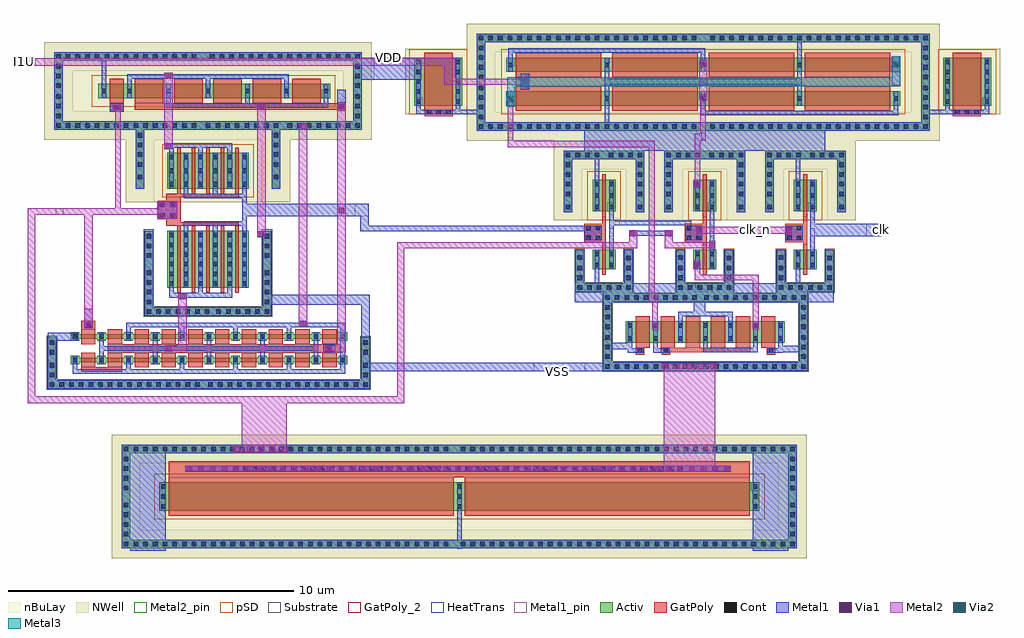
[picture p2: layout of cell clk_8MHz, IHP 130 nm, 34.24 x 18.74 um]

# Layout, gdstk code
from math import pi, radians
import gdstk
lib = gdstk.Library(unit=1e-6, precision=1e-09)
def R(c, l, rs):  # rectangles x0, y0, x1, y1
    for r in rs: c.add(gdstk.rectangle(r[:2], r[2:], *l))
def A(c, l, x, y, w, h, nx, ny, dx, dy):  # array of equal rectangles
    R(c, l, [(x+i*dx, y+j*dy, x+i*dx+w, y+j*dy+h) for i in range(nx) for j in range(ny)])
def P(c, l, *ps):  # polygons
    for p in ps: c.add(gdstk.Polygon(p, *l))
Activ = (1, 0)
GatPoly = (5, 0)
GatPoly_2 = (5, 2)
Cont = (6, 0)
Metal1 = (8, 0)
Metal1_pin = (8, 2)
Metal2 = (10, 0)
Metal2_pin = (10, 2)
pSD = (14, 0)
Via1 = (19, 0)
Via2 = (29, 0)
Metal3 = (30, 0)
NWell = (31, 0)
nBuLay = (32, 0)
Substrate = (40, 0)
HeatTrans = (51, 0)

via_stack_12 = lib.new_cell('via_stack$12')
R(via_stack_12, Metal1, [(-0.145,-0.105,0.145,0.105)])
R(via_stack_12, Metal2, [(-0.145,-0.1,0.145,0.1)])
R(via_stack_12, Via1, [(-0.095,-0.095,0.095,0.095)])
R(via_stack_12, Via2, [(-0.095,-0.095,0.095,0.095)])
R(via_stack_12, Metal3, [(-0.145,-0.1,0.145,0.1)])

pmos_2 = lib.new_cell('pmos$2')
R(pmos_2, Activ, [(0,0,0.3,0.3), (0,0,1.68,1.68), (1.38,0,1.68,0.3)])
R(pmos_2, GatPoly, [(0.34,-0.18,1.34,1.86), (0.34,-0.18,1.34,1.86)])
A(pmos_2, Cont, 0.07, 0.07, 0.16, 0.16, 1, 5, 0, 0.345)
A(pmos_2, Cont, 1.45, 0.07, 0.16, 0.16, 1, 5, 0, 0.345)
R(pmos_2, Metal1, [(0.07,0,0.23,1.68), (0.07,0,0.23,1.68), (1.45,0,1.61,1.68), (1.45,0,1.61,1.68)])
R(pmos_2, pSD, [(-0.18,-0.3,1.86,1.98)])
R(pmos_2, NWell, [(-0.31,-0.31,1.99,1.99)])
R(pmos_2, Substrate, [(1.38,0,1.68,0.3)])
R(pmos_2, HeatTrans, [(0.34,-0.18,1.34,1.86)])
pmos_2.add(gdstk.Label('pmos', (0.84,0.84), layer=63, texttype=0))
pmos_2.add(gdstk.Label('pmos', (0.84,0.84), layer=51, texttype=0))

via_stack_6 = lib.new_cell('via_stack$6')
R(via_stack_6, GatPoly, [(-0.15,-0.49,0.15,0.49)])
A(via_stack_6, Cont, -0.08, -0.42, 0.16, 0.16, 1, 3, 0, 0.34)
R(via_stack_6, Metal1, [(-0.08,-0.47,0.08,0.47)])

via_stack_5 = lib.new_cell('via_stack$5')
R(via_stack_5, GatPoly, [(-0.15,-0.15,0.15,0.15)])
R(via_stack_5, Cont, [(-0.08,-0.08,0.08,0.08)])
R(via_stack_5, Metal1, [(-0.145,-0.105,0.145,0.105)])
R(via_stack_5, Metal2, [(-0.145,-0.1,0.145,0.1)])
R(via_stack_5, Via1, [(-0.095,-0.095,0.095,0.095)])

guard_ring = lib.new_cell('guard_ring')
R(guard_ring, Activ, [(-7.95,-1.4,-7.65,1.4), (7.65,-1.4,7.95,1.4), (-7.95,1.4,7.95,1.7)])
P(guard_ring, Activ, [(-7.95,-1.7),(-7.95,1.4),(-7.65,1.4),(-7.65,-1.4),(7.65,-1.4),(7.65,1.4),(-7.95,1.4),(-7.95,1.7),(7.95,1.7),(7.95,-1.7)])
A(guard_ring, Cont, -7.88, -1.63, 0.16, 0.16, 23, 2, 0.34, 3.1)
A(guard_ring, Cont, 0.24, -1.63, 0.16, 0.16, 23, 2, 0.34, 3.1)
A(guard_ring, Cont, -7.88, -1.29, 0.16, 0.16, 1, 4, 0, 0.34)
A(guard_ring, Cont, 7.72, -1.29, 0.16, 0.16, 1, 4, 0, 0.34)
A(guard_ring, Cont, -7.88, 0.11, 0.16, 0.16, 1, 4, 0, 0.34)
A(guard_ring, Cont, 7.72, 0.11, 0.16, 0.16, 1, 4, 0, 0.34)
R(guard_ring, Metal1, [(-7.95,-1.7,7.95,-1.4), (-7.95,-1.4,-7.65,1.4), (7.65,-1.4,7.95,1.4), (-7.95,1.4,7.95,1.7)])
R(guard_ring, NWell, [(-8.3,-2.05,8.3,2.05)])
R(guard_ring, nBuLay, [(-8.3,-1.05,-7.3,1.05), (7.3,-1.05,8.3,1.05), (-8.3,1.05,8.3,2.05)])
P(guard_ring, nBuLay, [(-8.3,-2.05),(-8.3,1.05),(-7.3,1.05),(-7.3,-1.05),(7.3,-1.05),(7.3,1.05),(-8.3,1.05),(-8.3,2.05),(8.3,2.05),(8.3,-2.05)])
guard_ring.add(gdstk.Label('well', (0,-1.55), layer=63, texttype=0))

pmos_3 = lib.new_cell('pmos$3')
A(pmos_3, Activ, 0, 0, 0.3, 0.3, 5, 1, 3.38, 0)
R(pmos_3, Activ, [(0,0,13.82,0.5)])
A(pmos_3, GatPoly, 0.34, -0.18, 3, 0.86, 4, 1, 3.38, 0)
R(pmos_3, GatPoly, [(0.34,-0.18,3.34,0.68)])
A(pmos_3, Cont, 0.07, 0.17, 0.16, 0.16, 5, 1, 3.38, 0)
A(pmos_3, Metal1, 3.45, 0, 0.16, 0.5, 4, 1, 3.38, 0)
R(pmos_3, Metal1, [(0.07,0,0.23,0.5), (0.07,0,0.23,0.5), (3.45,0,3.61,0.5)])
R(pmos_3, pSD, [(-0.18,-0.3,14,0.8)])
R(pmos_3, NWell, [(-0.31,-0.31,14.13,0.81)])
R(pmos_3, Substrate, [(13.52,0,13.82,0.3)])
A(pmos_3, HeatTrans, 0.34, -0.18, 3, 0.86, 4, 1, 3.38, 0)
pmos_3.add(gdstk.Label('pmos', (1.84,0.25), layer=63, texttype=0))
pmos_3.add(gdstk.Label('pmos', (1.84,0.25), layer=51, texttype=0))
pmos_3.add(gdstk.Label('pmos', (5.22,0.25), layer=51, texttype=0))
pmos_3.add(gdstk.Label('pmos', (8.6,0.25), layer=51, texttype=0))
pmos_3.add(gdstk.Label('pmos', (11.98,0.25), layer=51, texttype=0))

pmos_4 = lib.new_cell('pmos$4')
A(pmos_4, Activ, 0, 0, 0.3, 0.3, 5, 1, 3.38, 0)
R(pmos_4, Activ, [(0,0,13.82,0.5)])
A(pmos_4, GatPoly, 0.34, -0.18, 3, 0.86, 4, 1, 3.38, 0)
R(pmos_4, GatPoly, [(0.34,-0.18,3.34,0.68)])
A(pmos_4, Cont, 0.07, 0.17, 0.16, 0.16, 5, 1, 3.38, 0)
A(pmos_4, Metal1, 3.45, 0, 0.16, 0.5, 4, 1, 3.38, 0)
R(pmos_4, Metal1, [(0.07,0,0.23,0.5), (0.07,0,0.23,0.5), (3.45,0,3.61,0.5)])
R(pmos_4, pSD, [(-0.18,-0.3,14,0.8)])
R(pmos_4, NWell, [(-0.31,-0.31,14.13,0.81)])
R(pmos_4, Substrate, [(13.52,0,13.82,0.3)])
A(pmos_4, HeatTrans, 0.34, -0.18, 3, 0.86, 4, 1, 3.38, 0)
pmos_4.add(gdstk.Label('pmos', (1.84,0.25), layer=63, texttype=0))
pmos_4.add(gdstk.Label('pmos', (1.84,0.25), layer=51, texttype=0))
pmos_4.add(gdstk.Label('pmos', (5.22,0.25), layer=51, texttype=0))
pmos_4.add(gdstk.Label('pmos', (8.6,0.25), layer=51, texttype=0))
pmos_4.add(gdstk.Label('pmos', (11.98,0.25), layer=51, texttype=0))

via_stack_4 = lib.new_cell('via_stack$4')
R(via_stack_4, Metal1, [(-0.145,-0.105,0.145,0.105)])
R(via_stack_4, Metal2, [(-0.145,-0.1,0.145,0.1)])
R(via_stack_4, Via1, [(-0.095,-0.095,0.095,0.095)])

ring_mirror_p = lib.new_cell('ring_mirror_p')
R(ring_mirror_p, GatPoly, [(-7.805,-0.62,5.335,-0.3)])
R(ring_mirror_p, Metal1, [(-4.695,-1.985,-4.535,-1.3), (-1.315,-1.64,5.605,-1.48), (-11.3,-1.61,-8.955,-1.445), (6.455,-1.61,8.8,-1.445), (-11.3,-1.575,-11.14,-1.3), (-9.92,-1.575,-9.76,-1.3), (7.26,-1.575,7.42,-1.3), (8.64,-1.575,8.8,-1.3), (-1.315,-1.48,-1.155,-0.875), (5.445,-1.48,5.605,-0.875), (-8.135,-1.345,-7.85,-0.79), (-4.695,-0.8,-4.535,-0.12), (2.065,-0.8,2.225,-0.12), (-7.63,-0.74,-7.345,-0.185), (-4.695,-0.565,2.225,-0.355), (5.39,-0.125,5.675,0.43), (-8.075,-0.045,-7.915,0.56), (-1.315,-0.045,-1.155,0.56), (2.065,0.38,2.225,0.965), (-8.075,0.56,-1.155,0.72)])
R(ring_mirror_p, Metal1_pin, [(-3.955,0.915,-2.815,1.215)])
R(ring_mirror_p, Metal2, [(-8.09,-2.535,-7.89,-0.95), (-1.34,-2.535,-1.14,-0.93), (-1.38,-1.105,-1.09,0.305), (5.39,-0.585,5.675,0.43), (-10.315,-0.565,-7.345,-0.365)])
R(ring_mirror_p, Metal2_pin, [(-8.075,-2.525,-7.9,-2.18), (-1.305,-2.505,-1.145,-2.16), (-10.315,-0.565,-10.08,-0.365)])
R(ring_mirror_p, pSD, [(-8.325,-0.5,5.855,-0.42)])
R(ring_mirror_p, Metal3, [(-8.115,-1.345,-7.85,-0.305), (-8.115,-0.62,5.675,-0.305), (5.39,-0.62,5.675,0.43)])
ring_mirror_p.add(gdstk.Reference(via_stack_12, (5.53,0.15)))
ring_mirror_p.add(gdstk.Reference(via_stack_12, (-7.995,-1.07)))
ring_mirror_p.add(gdstk.Reference(pmos_2, (7.19,-1.3)))
ring_mirror_p.add(gdstk.Reference(via_stack_6, (8.02,-1.525), rotation=pi/2))
ring_mirror_p.add(gdstk.Reference(via_stack_5, (-7.49,-0.465)))
ring_mirror_p.add(gdstk.Reference(pmos_2, (-9.69,-1.3), rotation=pi, x_reflection=True))
ring_mirror_p.add(gdstk.Reference(via_stack_6, (-10.52,-1.525), rotation=pi/2, x_reflection=True))
ring_mirror_p.add(gdstk.Reference(guard_ring, (-1.235,-0.485)))
ring_mirror_p.add(gdstk.Reference(pmos_3, (5.675,-0.8), rotation=pi))
ring_mirror_p.add(gdstk.Reference(pmos_4, (5.675,0.38), rotation=pi))
ring_mirror_p.add(gdstk.Reference(via_stack_4, (-1.235,0.205)))
ring_mirror_p.add(gdstk.Reference(via_stack_4, (-1.235,-1.005)))
ring_mirror_p.add(gdstk.Label('VDD', (-3.385,1.215), layer=8, texttype=2))
ring_mirror_p.add(gdstk.Label('i1u', (-10.21,-0.48), layer=10, texttype=2))
ring_mirror_p.add(gdstk.Label('DRR', (-8.055,-2.405), layer=10, texttype=2))
ring_mirror_p.add(gdstk.Label('DRM', (-1.265,-2.36), layer=10, texttype=2))

via_stack_1 = lib.new_cell('via_stack$1')
R(via_stack_1, GatPoly, [(-0.32,-0.32,0.32,0.32)])
R(via_stack_1, Cont, [(-0.25,-0.25,-0.09,-0.09), (0.09,-0.25,0.25,-0.09), (-0.25,0.09,-0.09,0.25), (0.09,0.09,0.25,0.25)])
R(via_stack_1, Metal1, [(-0.3,-0.25,0.3,0.25)])

ring_inv = lib.new_cell('ring_inv')
R(ring_inv, Activ, [(-0.45,-2.005,-0.15,-1.705), (-0.45,-2.005,0.36,-1.305), (0.06,-2.005,0.36,-1.705), (-1.46,0,-1.16,1.86), (1.07,0,1.37,1.86), (-0.45,0.03,-0.15,0.33), (-0.45,0.03,0.36,1.15), (0.06,0.03,0.36,0.33), (-1.46,1.86,1.37,2.16)])
P(ring_inv, Activ, [(-1.05,-2.785),(-1.05,-1.305),(-0.75,-1.305),(-0.75,-2.485),(0.66,-2.485),(0.66,-1.305),(0.96,-1.305),(0.96,-2.785)])
R(ring_inv, GatPoly, [(-0.11,-2.185,0.02,-1.125), (-0.11,-1.125,0.02,-0.15), (-0.11,-0.15,0.02,1.33), (-0.11,-0.15,0.02,1.33)])
R(ring_inv, GatPoly_2, [(-0.11,-2.185,0.02,-1.125)])
A(ring_inv, Cont, -0.98, -2.715, 0.16, 0.16, 3, 1, 0.34, 0)
A(ring_inv, Cont, 0.05, -2.715, 0.16, 0.16, 3, 1, 0.34, 0)
A(ring_inv, Cont, -0.38, 0.1, 0.16, 0.16, 1, 3, 0, 0.41)
A(ring_inv, Cont, 0.13, 0.1, 0.16, 0.16, 1, 3, 0, 0.41)
A(ring_inv, Cont, -1.39, 0.57, 0.16, 0.16, 1, 4, 0, 0.34)
A(ring_inv, Cont, 1.14, 0.57, 0.16, 0.16, 1, 4, 0, 0.34)
A(ring_inv, Cont, -1.39, 1.93, 0.16, 0.16, 4, 1, 0.34, 0)
A(ring_inv, Cont, 0.12, 1.93, 0.16, 0.16, 4, 1, 0.34, 0)
R(ring_inv, Cont, [(-0.98,-2.375,-0.82,-2.215), (0.73,-2.375,0.89,-2.215), (-0.98,-2.035,-0.82,-1.875), (0.73,-2.035,0.89,-1.875), (-0.38,-1.935,-0.22,-1.775), (0.13,-1.935,0.29,-1.775), (0.73,-1.675,0.89,-1.515), (-0.98,-1.67,-0.82,-1.51), (-0.38,-1.535,-0.22,-1.375), (0.13,-1.535,0.29,-1.375), (-1.39,0.11,-1.23,0.27), (1.14,0.11,1.3,0.27)])
R(ring_inv, Metal1, [(-1.05,-2.785,0.96,-2.485), (-1.05,-2.485,-0.75,-1.305), (0.66,-2.485,0.96,-1.305), (-0.38,-2.005,-0.22,-1.305), (0.13,-2.005,0.29,-1.305), (0.13,-1.305,0.29,0.03), (-1.46,0,-1.16,1.86), (1.07,0,1.37,1.86), (-0.38,0.03,-0.22,1.15), (-0.38,0.03,-0.22,1.15), (0.13,0.03,0.29,1.15), (0.13,0.03,0.29,1.15), (-1.46,1.86,1.37,2.16)])
R(ring_inv, Metal1_pin, [(-0.38,-2.785,0.23,-2.485), (-0.38,-2.005,-0.22,-1.305), (0.13,-2.005,0.29,-1.305), (0.13,-0.84,0.29,-0.565), (-0.73,-0.815,-0.52,-0.625), (-0.505,1.86,0.29,2.16)])
R(ring_inv, pSD, [(-0.63,-0.27,0.54,1.45)])
P(ring_inv, pSD, [(-1.08,-2.815),(-1.08,-1.275),(-0.72,-1.275),(-0.72,-2.455),(0.63,-2.455),(0.63,-1.275),(0.99,-1.275),(0.99,-2.815)])
R(ring_inv, NWell, [(-1.81,-0.28,1.72,2.51), (-0.76,-0.28,0.67,1.46)])
R(ring_inv, nBuLay, [(-1.81,-0.28,-0.81,1.51), (0.72,-0.28,1.72,1.51), (-1.81,1.51,1.72,2.51)])
R(ring_inv, Substrate, [(-1.08,-2.815,0.99,-2.455), (-1.08,-2.455,-0.72,-1.305), (0.63,-2.455,0.99,-1.305), (0.06,0.03,0.36,0.33)])
R(ring_inv, HeatTrans, [(-0.11,-2.185,0.02,-1.125), (-0.11,-0.15,0.02,1.33)])
ring_inv.add(gdstk.Reference(via_stack_1, (-0.43,-0.725)))
ring_inv.add(gdstk.Label('pmos', (-0.045,0.59), layer=63, texttype=0))
ring_inv.add(gdstk.Label('nmos', (-0.045,-1.655), layer=63, texttype=0))
ring_inv.add(gdstk.Label('sub!', (-0.045,-2.635), layer=63, texttype=0))
ring_inv.add(gdstk.Label('pmos', (-0.045,0.59), layer=51, texttype=0))
ring_inv.add(gdstk.Label('nmos', (-0.045,-1.655), layer=51, texttype=0))
ring_inv.add(gdstk.Label('VDD', (-0.108,2.16), layer=8, texttype=2))
ring_inv.add(gdstk.Label('VSS', (-0.075,-2.785), layer=8, texttype=2))
ring_inv.add(gdstk.Label('Y', (0.29,-0.703), layer=8, texttype=2))
ring_inv.add(gdstk.Label('A', (-0.73,-0.705), layer=8, texttype=2))

nmos_5 = lib.new_cell('nmos$5')
A(nmos_5, Activ, 0, 0, 0.3, 0.3, 7, 1, 0.88, 0)
R(nmos_5, Activ, [(-0.8,-0.68,-0.5,1.43), (6.08,-0.68,6.38,1.43), (0,0,5.58,0.75), (-0.8,1.43,6.38,1.73)])
P(nmos_5, Activ, [(-0.8,-0.98),(-0.8,1.43),(-0.5,1.43),(-0.5,-0.68),(6.08,-0.68),(6.08,1.43),(-0.8,1.43),(-0.8,1.73),(6.38,1.73),(6.38,-0.98)])
A(nmos_5, GatPoly, 0.34, -0.18, 0.5, 1.11, 6, 1, 0.88, 0)
R(nmos_5, GatPoly_2, [(0.34,-0.18,0.84,0.93)])
A(nmos_5, Cont, -0.73, -0.91, 0.16, 0.16, 10, 2, 0.34, 2.41)
A(nmos_5, Cont, 2.75, -0.91, 0.16, 0.16, 11, 2, 0.34, 2.41)
A(nmos_5, Cont, -0.73, -0.57, 0.16, 0.16, 1, 3, 0, 0.34)
A(nmos_5, Cont, 6.15, -0.57, 0.16, 0.16, 1, 3, 0, 0.34)
A(nmos_5, Cont, 0.07, 0.07, 0.16, 0.16, 7, 2, 0.88, 0.45)
A(nmos_5, Cont, -0.73, 0.48, 0.16, 0.16, 1, 3, 0, 0.34)
A(nmos_5, Cont, 6.15, 0.48, 0.16, 0.16, 1, 3, 0, 0.34)
A(nmos_5, Metal1, 0.07, 0, 0.16, 0.75, 7, 1, 0.88, 0)
R(nmos_5, Metal1, [(-0.8,-0.98,6.38,-0.68), (-0.8,-0.68,-0.5,1.43), (6.08,-0.68,6.38,1.43), (-0.8,1.43,6.38,1.73)])
R(nmos_5, Metal1_pin, [(0.07,0,0.23,0.75), (0.95,0,1.11,0.75)])
R(nmos_5, pSD, [(-0.83,-0.65,-0.47,1.4), (6.05,-0.65,6.41,1.4), (-0.83,1.4,6.41,1.76)])
P(nmos_5, pSD, [(-0.83,-1.01),(-0.83,1.4),(-0.47,1.4),(-0.47,-0.65),(6.05,-0.65),(6.05,1.4),(-0.83,1.4),(-0.83,1.76),(6.41,1.76),(6.41,-1.01)])
R(nmos_5, Substrate, [(-0.83,-0.65,-0.47,1.4), (6.05,-0.65,6.41,1.4), (-0.83,1.4,6.41,1.76)])
P(nmos_5, Substrate, [(-0.83,-1.01),(-0.83,1.4),(-0.47,1.4),(-0.47,-0.65),(6.05,-0.65),(6.05,1.4),(-0.83,1.4),(-0.83,1.76),(6.41,1.76),(6.41,-1.01)])
A(nmos_5, HeatTrans, 0.34, -0.18, 0.5, 1.11, 6, 1, 0.88, 0)
nmos_5.add(gdstk.Label('nmos', (0.59,0.375), layer=63, texttype=0))
nmos_5.add(gdstk.Label('sub!', (2.79,-0.83), layer=63, texttype=0))
nmos_5.add(gdstk.Label('nmos', (0.59,0.375), layer=51, texttype=0))
nmos_5.add(gdstk.Label('nmos', (1.47,0.375), layer=51, texttype=0))
nmos_5.add(gdstk.Label('nmos', (2.35,0.375), layer=51, texttype=0))
nmos_5.add(gdstk.Label('nmos', (3.23,0.375), layer=51, texttype=0))
nmos_5.add(gdstk.Label('nmos', (4.11,0.375), layer=51, texttype=0))
nmos_5.add(gdstk.Label('nmos', (4.99,0.375), layer=51, texttype=0))

via_stack_9 = lib.new_cell('via_stack$9')
R(via_stack_9, GatPoly, [(-0.15,-0.15,0.15,0.15)])
R(via_stack_9, Cont, [(-0.08,-0.08,0.08,0.08)])
R(via_stack_9, Metal1, [(-0.13,-0.08,0.13,0.08)])

ring_mirror_n2 = lib.new_cell('ring_mirror_n2')
R(ring_mirror_n2, GatPoly, [(-1.565,-4.565,1.575,-4.405)])
R(ring_mirror_n2, Metal1, [(2.205,-4.585,2.725,-4.425), (2.565,-4.585,2.725,-4.085), (-2.715,-4.575,-2.195,-4.415), (-2.715,-4.575,-2.555,-4.075), (-1.835,-4.575,-1.675,-4.225), (-1.835,-4.575,-1.505,-4.415), (-0.075,-4.565,1.845,-4.405), (-0.075,-4.565,0.085,-4.225), (1.685,-4.565,1.845,-4.225), (2.565,-4.56,3.595,-4.335), (-3.515,-4.455,-2.555,-4.225), (-0.955,-3.475,-0.795,-3.135), (0.805,-3.475,0.965,-3.135), (-0.955,-3.295,0.965,-3.135), (-0.4,-3.135,0.005,-2.495)])
R(ring_mirror_n2, Metal2, [(1.67,-3.485,1.87,-2.465), (-1.86,-3.475,-1.66,-2.465)])
ring_mirror_n2.add(gdstk.Reference(nmos_5, (-2.785,-4.225)))
ring_mirror_n2.add(gdstk.Reference(via_stack_9, (-1.375,-4.495)))
ring_mirror_n2.add(gdstk.Reference(via_stack_9, (-2.295,-4.495)))
ring_mirror_n2.add(gdstk.Reference(via_stack_9, (2.305,-4.505), rotation=pi, x_reflection=True))
ring_mirror_n2.add(gdstk.Reference(via_stack_4, (-1.76,-3.62), rotation=pi/2))
ring_mirror_n2.add(gdstk.Reference(via_stack_4, (1.77,-3.63), rotation=pi/2))

ring_mrr_inv = lib.new_cell('ring_mrr_inv')
R(ring_mrr_inv, Activ, [(-0.875,-2.545,1.135,-2.48), (-3.435,-2.54,-2.395,-2.48), (2.655,-2.54,3.745,-2.48)])
R(ring_mrr_inv, Metal1, [(-4.435,-2.845,4.665,-2.185), (-4.09,2.46,4.35,3.465)])
R(ring_mrr_inv, Metal2, [(1.815,-2.985,2.02,-2.085), (-1.835,-2.84,-1.62,2.815), (-0.225,-2.085,-0.025,-1.69), (-0.025,-2.085,2.02,-1.88), (-0.225,1.16,-0.025,3.07), (-6.78,2.595,-1.62,2.815)])
ring_mrr_inv.add(gdstk.Reference(ring_mirror_p, (1.31,5.35)))
ring_mrr_inv.add(gdstk.Reference(ring_inv, (0.175,0.305)))
ring_mrr_inv.add(gdstk.Reference(ring_inv, (-3.355,0.305)))
ring_mrr_inv.add(gdstk.Reference(ring_inv, (3.705,0.305)))
ring_mrr_inv.add(gdstk.Reference(via_stack_4, (-0.125,1.305), rotation=pi/2))
ring_mrr_inv.add(gdstk.Reference(via_stack_4, (-0.125,-1.545), rotation=pi/2))
ring_mrr_inv.add(gdstk.Reference(ring_mirror_n2, (0.15,-0.045)))

via_stack = lib.new_cell('via_stack')
R(via_stack, GatPoly, [(-0.32,-0.32,0.32,0.32)])
R(via_stack, Cont, [(-0.25,-0.25,-0.09,-0.09), (0.09,-0.25,0.25,-0.09), (-0.25,0.09,-0.09,0.25), (0.09,0.09,0.25,0.25)])
R(via_stack, Metal1, [(-0.35,-0.31,0.35,0.31)])
R(via_stack, Metal2, [(-0.35,-0.305,0.35,0.305)])
R(via_stack, Via1, [(-0.3,-0.3,-0.11,-0.11), (0.11,-0.3,0.3,-0.11), (-0.3,0.11,-0.11,0.3), (0.11,0.11,0.3,0.3)])

nmos_3 = lib.new_cell('nmos$3')
A(nmos_3, Activ, 0, 0, 0.3, 0.3, 11, 1, 0.94, 0)
R(nmos_3, Activ, [(0,0.07,9.7,0.225)])
A(nmos_3, GatPoly, 0.37, -0.11, 0.5, 0.515, 10, 1, 0.94, 0)
R(nmos_3, GatPoly_2, [(0.37,-0.11,0.87,0.405)])
A(nmos_3, Metal1, 0.07, 0.015, 0.16, 0.26, 11, 1, 0.94, 0)
R(nmos_3, Metal1_pin, [(0.07,0.015,0.23,0.275), (1.01,0.015,1.17,0.275)])
A(nmos_3, HeatTrans, 0.37, -0.11, 0.5, 0.515, 10, 1, 0.94, 0)
nmos_3.add(gdstk.Label('nmos', (0.62,0.148), layer=63, texttype=0))
nmos_3.add(gdstk.Label('nmos', (0.62,0.148), layer=51, texttype=0))
nmos_3.add(gdstk.Label('nmos', (1.56,0.148), layer=51, texttype=0))
nmos_3.add(gdstk.Label('nmos', (2.5,0.148), layer=51, texttype=0))
nmos_3.add(gdstk.Label('nmos', (3.44,0.148), layer=51, texttype=0))
nmos_3.add(gdstk.Label('nmos', (4.38,0.148), layer=51, texttype=0))
nmos_3.add(gdstk.Label('nmos', (5.32,0.148), layer=51, texttype=0))
nmos_3.add(gdstk.Label('nmos', (6.26,0.148), layer=51, texttype=0))
nmos_3.add(gdstk.Label('nmos', (7.2,0.148), layer=51, texttype=0))
nmos_3.add(gdstk.Label('nmos', (8.14,0.148), layer=51, texttype=0))
nmos_3.add(gdstk.Label('nmos', (9.08,0.148), layer=51, texttype=0))

ring_schmitt = lib.new_cell('ring_schmitt')
A(ring_schmitt, Activ, -3.855, -3.525, 0.3, 0.3, 11, 1, 0.94, 0)
A(ring_schmitt, Activ, -0.46, -0.85, 0.3, 0.3, 6, 2, 0.51, 3.485)
A(ring_schmitt, Activ, -1.945, 5.805, 0.3, 0.3, 6, 1, 1.38, 0)
R(ring_schmitt, Activ, [(-4.655,-4.395,6.645,-4.095), (-4.655,-4.095,-4.355,-2.58), (6.345,-4.095,6.645,-2.58), (-3.855,-3.455,5.845,-3.3), (-1.26,-1.83,3.19,-1.53), (-1.26,-1.53,-0.96,1.15), (2.89,-1.53,3.19,1.15), (-0.46,-0.85,2.39,1.15), (-1.57,2.635,-1.27,4.695), (-0.46,2.635,2.39,3.885), (3.2,2.635,3.5,4.695), (-1.57,4.695,3.5,4.995), (-4.435,4.995,-4.135,7.115), (6.065,4.995,6.365,7.115), (-2.885,5.805,5.255,6.305), (-2.83,5.805,-2.53,6.105), (-4.435,7.115,6.365,7.415)])
P(ring_schmitt, Activ, [(-4.435,4.695),(-4.435,7.115),(-4.135,7.115),(-4.135,4.995),(6.065,4.995),(6.065,7.115),(-4.435,7.115),(-4.435,7.415),(6.365,7.415),(6.365,4.695)])
A(ring_schmitt, GatPoly, -3.485, -3.635, 0.5, 0.515, 10, 1, 0.94, 0)
A(ring_schmitt, GatPoly, -0.12, -1.03, 0.13, 2.36, 5, 1, 0.51, 0)
A(ring_schmitt, GatPoly, -0.12, 2.455, 0.13, 1.61, 5, 1, 0.51, 0)
A(ring_schmitt, GatPoly, -1.605, 5.625, 1, 0.86, 5, 1, 1.38, 0)
R(ring_schmitt, GatPoly, [(-3.485,-3.785,-2.045,-3.635), (-2.545,-3.12,5.615,-2.82), (-3.485,-2.305,-2.985,-2.005), (-0.505,1.33,2.05,1.46), (-0.505,1.33,0.01,2.455), (-0.505,2.325,2.05,2.455), (1.92,2.455,2.05,4.065), (-2.485,5.325,-1.985,5.625), (-1.605,5.4,5.8,5.625), (-2.485,5.625,-1.985,6.485), (-2.485,5.625,-1.985,6.485)])
R(ring_schmitt, GatPoly_2, [(-3.485,-3.635,-2.985,-3.12), (1.92,-1.03,2.05,1.33)])
A(ring_schmitt, Cont, -4.585, -4.325, 0.16, 0.16, 16, 1, 0.34, 0)
A(ring_schmitt, Cont, 0.975, -4.325, 0.16, 0.16, 17, 1, 0.34, 0)
A(ring_schmitt, Cont, -3.785, -3.455, 0.16, 0.16, 11, 2, 0.94, 0.815)
A(ring_schmitt, Cont, -1.19, -1.76, 0.16, 0.16, 7, 1, 0.34, 0)
A(ring_schmitt, Cont, 1.26, -1.76, 0.16, 0.16, 6, 1, 0.34, 0)
A(ring_schmitt, Cont, -1.19, -1.42, 0.16, 0.16, 1, 4, 0, 0.34)
A(ring_schmitt, Cont, 2.96, -1.42, 0.16, 0.16, 1, 4, 0, 0.34)
A(ring_schmitt, Cont, -0.39, -0.78, 0.16, 0.16, 6, 6, 0.51, 0.34)
A(ring_schmitt, Cont, -1.19, 0.2, 0.16, 0.16, 1, 3, 0, 0.34)
A(ring_schmitt, Cont, 2.96, 0.2, 0.16, 0.16, 1, 3, 0, 0.34)
A(ring_schmitt, Cont, -0.39, 2.705, 0.16, 0.16, 6, 3, 0.51, 0.475)
A(ring_schmitt, Cont, -1.5, 3.405, 0.16, 0.16, 1, 4, 0, 0.34)
A(ring_schmitt, Cont, 3.27, 3.405, 0.16, 0.16, 1, 4, 0, 0.34)
A(ring_schmitt, Cont, -4.365, 4.765, 0.16, 0.16, 15, 2, 0.34, 2.42)
A(ring_schmitt, Cont, 1.23, 4.765, 0.16, 0.16, 7, 1, 0.34, 0)
A(ring_schmitt, Cont, 3.755, 4.765, 0.16, 0.16, 8, 1, 0.34, 0)
A(ring_schmitt, Cont, -4.365, 5.105, 0.16, 0.16, 1, 3, 0, 0.34)
A(ring_schmitt, Cont, 6.135, 5.105, 0.16, 0.16, 1, 3, 0, 0.34)
A(ring_schmitt, Cont, -1.875, 5.975, 0.16, 0.16, 6, 1, 1.38, 0)
A(ring_schmitt, Cont, -4.365, 6.165, 0.16, 0.16, 1, 3, 0, 0.34)
A(ring_schmitt, Cont, 6.135, 6.165, 0.16, 0.16, 1, 3, 0, 0.34)
A(ring_schmitt, Cont, 1.035, 7.185, 0.16, 0.16, 16, 1, 0.34, 0)
R(ring_schmitt, Cont, [(-4.585,-3.985,-4.425,-3.825), (6.415,-3.985,6.575,-3.825), (-4.585,-3.645,-4.425,-3.485), (6.415,-3.645,6.575,-3.485), (-4.585,-3.19,-4.425,-3.03), (6.415,-3.19,6.575,-3.03), (-4.585,-2.85,-4.425,-2.69), (6.415,-2.85,6.575,-2.69), (-1.5,2.955,-1.34,3.115), (3.27,2.955,3.43,3.115), (0.88,4.765,1.04,4.925), (-2.76,5.975,-2.6,6.135)])
A(ring_schmitt, Metal1, -3.785, -3.795, 0.16, 0.285, 6, 1, 1.88, 0)
A(ring_schmitt, Metal1, -2.845, -3.515, 0.16, 1.105, 5, 1, 1.88, 0)
A(ring_schmitt, Metal1, -3.785, -3.51, 0.16, 0.27, 5, 1, 1.88, 0)
A(ring_schmitt, Metal1, -2.845, -3.51, 0.16, 0.26, 5, 1, 1.88, 0)
A(ring_schmitt, Metal1, -0.025, -2.71, 0.16, 0.555, 3, 1, 1.88, 0)
A(ring_schmitt, Metal1, -0.39, -0.85, 0.16, 2, 6, 1, 0.51, 0)
A(ring_schmitt, Metal1, -0.39, 2.635, 0.16, 1.25, 5, 1, 0.51, 0)
A(ring_schmitt, Metal1, -0.495, 5.465, 0.16, 0.34, 3, 1, 2.76, 0)
A(ring_schmitt, Metal1, -1.875, 5.805, 0.16, 0.5, 6, 1, 1.38, 0)
A(ring_schmitt, Metal1, -1.875, 6.305, 0.16, 0.34, 3, 1, 2.76, 0)
R(ring_schmitt, Metal1, [(-4.655,-4.395,6.645,-4.095), (-4.655,-4.095,-4.355,-2.58), (6.345,-4.095,6.645,-2.58), (-3.785,-3.87,5.775,-3.71), (-1.905,-3.87,-1.745,-3.51), (5.615,-3.51,5.775,-3.25), (5.615,-3.29,5.775,-2.41), (5.015,-3.11,5.43,-2.82), (-2.845,-3.05,4.835,-2.89), (-4.655,-2.71,-3.59,-2.42), (-1.905,-2.71,-1.745,-2.08), (6.345,-2.58,6.645,-1.1), (5.615,-2.44,5.775,-2.155), (-3.375,-2.255,-3.085,-1.59), (-1.905,-2.23,5.775,-2.07), (-1.26,-1.83,3.19,-1.53), (-1.26,-1.53,-0.96,1.15), (2.89,-1.53,3.19,1.15), (2.89,-1.445,6.645,-1.1), (-0.39,-1.19,1.81,-1.03), (-0.39,-1.19,-0.23,-0.85), (1.65,-1.19,1.81,-0.85), (0.63,-1.03,0.79,-0.85), (0.12,1.15,0.28,1.49), (1.14,1.15,1.3,1.33), (2.16,1.15,2.32,1.49), (0.12,1.33,2.32,1.49), (2.16,1.49,2.32,2.295), (2.16,1.665,6.605,2.095), (0.12,2.295,2.32,2.455), (0.12,2.295,0.28,2.635), (2.16,2.295,2.32,2.635), (1.14,2.455,1.3,2.635), (-1.57,2.635,-1.27,4.695), (1.65,2.635,1.81,3.885), (2.16,2.635,2.32,3.885), (2.16,2.635,2.32,3.885), (3.2,2.635,3.5,4.695), (-0.39,3.885,-0.23,4.225), (0.63,3.885,0.79,4.065), (1.65,3.885,1.81,4.225), (-0.39,4.065,1.81,4.225), (-4.435,4.695,6.365,4.995), (-1.57,4.695,3.5,4.995), (-4.435,4.995,-4.135,7.115), (6.065,4.995,6.365,7.115), (-2.485,5.325,-1.985,5.625), (5.505,5.415,5.795,6.11), (-0.495,5.465,5.185,5.625), (-2.76,5.805,-2.6,6.305), (-2.76,5.805,-2.6,6.305), (-1.875,5.805,-1.715,6.305), (-2.76,6.305,-2.6,7.115), (-1.875,6.485,3.805,6.645), (-4.435,7.115,6.365,7.415)])
R(ring_schmitt, Metal1_pin, [(-0.31,-4.395,0.48,-4.095), (-3.785,-3.51,-3.625,-3.24), (-2.845,-3.51,-2.685,-3.25), (1.65,-0.85,1.81,1.15), (2.16,-0.85,2.32,1.15), (6.12,1.665,6.605,2.095), (-0.16,7.115,1.845,7.415)])
R(ring_schmitt, Metal2, [(5.505,-3.11,5.795,2.075), (5.075,-3.07,5.795,-2.865), (-0.555,-3.065,0.215,-2.865), (-0.075,-3.065,0.215,-1.045), (-3.375,-2.255,-3.085,1.94), (4.155,-2.215,4.445,4.91), (2.7,0.935,2.99,5.615), (5.505,1.665,5.795,5.615), (-4.38,1.72,-0.59,1.94), (-2.295,1.72,-2.09,5.575), (-0.565,4.025,-0.275,6.7)])
R(ring_schmitt, Metal2_pin, [(-4.38,1.72,-4.105,1.94)])
R(ring_schmitt, pSD, [(-4.685,-4.425,6.675,-4.065), (-4.685,-4.065,-4.325,-2.535), (6.315,-4.065,6.675,-2.545), (-0.64,2.335,2.57,4.185), (-3.115,5.505,5.435,6.605)])
P(ring_schmitt, pSD, [(-1.29,-1.86),(-1.29,1.205),(-0.93,1.205),(-0.93,-1.5),(2.86,-1.5),(2.86,1.205),(3.22,1.205),(3.22,-1.86)])
R(ring_schmitt, NWell, [(-1.92,2.16,3.85,5.345), (-0.77,2.325,2.7,4.195), (-4.785,4.345,6.715,7.765), (-3.635,5.495,5.565,6.615)])
R(ring_schmitt, nBuLay, [(-1.92,2.16,-0.92,4.345), (2.85,2.16,3.85,4.345), (-1.92,4.345,3.85,5.345), (-4.785,5.345,-3.785,6.765), (5.715,5.345,6.715,6.765), (-4.785,6.765,6.715,7.765)])
P(ring_schmitt, nBuLay, [(-4.785,4.345),(-4.785,6.765),(-3.785,6.765),(-3.785,5.345),(5.715,5.345),(5.715,6.765),(-4.785,6.765),(-4.785,7.765),(6.715,7.765),(6.715,4.345)])
R(ring_schmitt, Substrate, [(-4.685,-4.425,6.675,-4.065), (-4.685,-4.065,-4.325,-2.535), (6.315,-4.065,6.675,-2.545), (-0.46,2.635,-0.16,2.935), (4.955,5.805,5.255,6.105)])
P(ring_schmitt, Substrate, [(-1.29,-1.86),(-1.29,1.205),(-0.93,1.205),(-0.93,-1.5),(2.86,-1.5),(2.86,1.205),(3.22,1.205),(3.22,-1.86)])
A(ring_schmitt, HeatTrans, -3.485, -3.635, 0.5, 0.515, 10, 1, 0.94, 0)
A(ring_schmitt, HeatTrans, -0.12, -1.03, 0.13, 2.36, 5, 1, 0.51, 0)
A(ring_schmitt, HeatTrans, -0.12, 2.455, 0.13, 1.61, 5, 1, 0.51, 0)
A(ring_schmitt, HeatTrans, -1.605, 5.625, 1, 0.86, 5, 1, 1.38, 0)
R(ring_schmitt, HeatTrans, [(-2.485,5.625,-1.985,6.485)])
ring_schmitt.add(gdstk.Reference(via_stack_5, (-2.235,5.475), rotation=pi, x_reflection=True))
ring_schmitt.add(gdstk.Reference(via_stack, (-0.465,1.88), rotation=pi, x_reflection=True))
ring_schmitt.add(gdstk.Reference(via_stack_4, (-0.42,6.6)))
ring_schmitt.add(gdstk.Reference(via_stack_4, (-0.42,4.125)))
ring_schmitt.add(gdstk.Reference(via_stack_5, (5.65,5.515)))
ring_schmitt.add(gdstk.Reference(via_stack_4, (5.65,1.865)))
ring_schmitt.add(gdstk.Reference(nmos_3, (-3.855,-2.71)))
ring_schmitt.add(gdstk.Reference(via_stack_4, (-0.41,-2.965)))
ring_schmitt.add(gdstk.Reference(via_stack_4, (0.07,-1.145)))
ring_schmitt.add(gdstk.Reference(via_stack_5, (5.22,-2.965)))
ring_schmitt.add(gdstk.Reference(via_stack_5, (-3.23,-2.155), rotation=pi, x_reflection=True))
ring_schmitt.add(gdstk.Reference(via_stack_4, (2.845,1.035)))
ring_schmitt.add(gdstk.Reference(via_stack_4, (2.845,5.515)))
ring_schmitt.add(gdstk.Reference(via_stack_4, (4.3,-2.115)))
ring_schmitt.add(gdstk.Reference(via_stack_4, (4.3,4.81)))
ring_schmitt.add(gdstk.Label('pmos', (1.985,3.26), layer=63, texttype=0))
ring_schmitt.add(gdstk.Label('sub!', (0.965,-1.68), layer=63, texttype=0))
ring_schmitt.add(gdstk.Label('nmos', (1.985,0.15), layer=63, texttype=0))
ring_schmitt.add(gdstk.Label('sub!', (0.995,-4.245), layer=63, texttype=0))
ring_schmitt.add(gdstk.Label('nmos', (-3.235,-3.38), layer=63, texttype=0))
ring_schmitt.add(gdstk.Label('pmos', (1.985,3.26), layer=51, texttype=0))
ring_schmitt.add(gdstk.Label('pmos', (1.475,3.26), layer=51, texttype=0))
ring_schmitt.add(gdstk.Label('pmos', (0.965,3.26), layer=51, texttype=0))
ring_schmitt.add(gdstk.Label('pmos', (0.455,3.26), layer=51, texttype=0))
ring_schmitt.add(gdstk.Label('pmos', (-0.055,3.26), layer=51, texttype=0))
ring_schmitt.add(gdstk.Label('nmos', (-0.055,0.15), layer=51, texttype=0))
ring_schmitt.add(gdstk.Label('nmos', (0.455,0.15), layer=51, texttype=0))
ring_schmitt.add(gdstk.Label('nmos', (0.965,0.15), layer=51, texttype=0))
ring_schmitt.add(gdstk.Label('nmos', (1.475,0.15), layer=51, texttype=0))
ring_schmitt.add(gdstk.Label('nmos', (1.985,0.15), layer=51, texttype=0))
ring_schmitt.add(gdstk.Label('pmos', (-2.485,6.055), layer=51, texttype=0))
ring_schmitt.add(gdstk.Label('pmos', (-1.105,6.055), layer=51, texttype=0))
ring_schmitt.add(gdstk.Label('pmos', (0.275,6.055), layer=51, texttype=0))
ring_schmitt.add(gdstk.Label('pmos', (1.655,6.055), layer=51, texttype=0))
ring_schmitt.add(gdstk.Label('pmos', (3.035,6.055), layer=51, texttype=0))
ring_schmitt.add(gdstk.Label('pmos', (4.415,6.055), layer=51, texttype=0))
ring_schmitt.add(gdstk.Label('nmos', (5.225,-3.375), layer=51, texttype=0))
ring_schmitt.add(gdstk.Label('nmos', (4.285,-3.375), layer=51, texttype=0))
ring_schmitt.add(gdstk.Label('nmos', (3.345,-3.375), layer=51, texttype=0))
ring_schmitt.add(gdstk.Label('nmos', (2.405,-3.375), layer=51, texttype=0))
ring_schmitt.add(gdstk.Label('nmos', (1.465,-3.375), layer=51, texttype=0))
ring_schmitt.add(gdstk.Label('nmos', (0.525,-3.375), layer=51, texttype=0))
ring_schmitt.add(gdstk.Label('nmos', (-0.415,-3.375), layer=51, texttype=0))
ring_schmitt.add(gdstk.Label('nmos', (-1.355,-3.375), layer=51, texttype=0))
ring_schmitt.add(gdstk.Label('nmos', (-2.295,-3.375), layer=51, texttype=0))
ring_schmitt.add(gdstk.Label('nmos', (-3.235,-3.375), layer=51, texttype=0))
ring_schmitt.add(gdstk.Label('Y', (6.605,1.88), layer=8, texttype=2))
ring_schmitt.add(gdstk.Label('VDD', (0.74,7.415), layer=8, texttype=2))
ring_schmitt.add(gdstk.Label('VSS', (0.035,-4.395), layer=8, texttype=2))
ring_schmitt.add(gdstk.Label('A', (-4.38,1.83), layer=10, texttype=2))

via_stack_11 = lib.new_cell('via_stack$11')
R(via_stack_11, GatPoly, [(-7.97,-0.15,7.97,0.15)])
A(via_stack_11, Cont, -7.9, -0.08, 0.16, 0.16, 47, 1, 0.34, 0)
R(via_stack_11, Metal1, [(-9.575,-0.105,9.575,0.105)])
R(via_stack_11, Metal2, [(-9.575,-0.1,9.575,0.1)])
A(via_stack_11, Via1, -9.525, -0.095, 0.19, 0.19, 47, 1, 0.41, 0)

pmos_7 = lib.new_cell('pmos$7')
A(pmos_7, Activ, 0, 0, 0.3, 0.3, 3, 1, 10.38, 0)
R(pmos_7, Activ, [(-1.31,-1.01,-1.01,2.01), (22.07,-1.01,22.37,2.01), (0,0,21.06,1), (-1.31,2.01,22.37,2.31)])
P(pmos_7, Activ, [(-1.31,-1.31),(-1.31,2.01),(-1.01,2.01),(-1.01,-1.01),(22.07,-1.01),(22.07,2.01),(-1.31,2.01),(-1.31,2.31),(22.37,2.31),(22.37,-1.31)])
R(pmos_7, GatPoly, [(0.34,-0.18,10.34,1.18), (0.34,-0.18,10.34,1.18), (10.72,-0.18,20.72,1.18)])
A(pmos_7, Cont, -1.24, -1.24, 0.16, 0.16, 34, 2, 0.34, 3.32)
A(pmos_7, Cont, 10.58, -1.24, 0.16, 0.16, 35, 2, 0.34, 3.32)
A(pmos_7, Cont, -1.24, -0.9, 0.16, 0.16, 1, 4, 0, 0.34)
A(pmos_7, Cont, 22.14, -0.9, 0.16, 0.16, 1, 4, 0, 0.34)
A(pmos_7, Cont, 0.07, 0.07, 0.16, 0.16, 3, 3, 10.38, 0.35)
A(pmos_7, Cont, -1.24, 0.72, 0.16, 0.16, 1, 4, 0, 0.34)
A(pmos_7, Cont, 22.14, 0.72, 0.16, 0.16, 1, 4, 0, 0.34)
R(pmos_7, Metal1, [(-1.31,-1.31,22.37,-1.01), (-1.31,-1.01,-1.01,2.01), (22.07,-1.01,22.37,2.01), (0.07,0,0.23,1), (0.07,0,0.23,1), (10.45,0,10.61,1), (10.45,0,10.61,1), (20.83,0,20.99,1), (-1.31,2.01,22.37,2.31)])
R(pmos_7, pSD, [(-0.18,-0.3,21.24,1.3)])
R(pmos_7, NWell, [(-1.66,-1.66,22.72,2.66), (-0.31,-0.31,21.37,1.31)])
R(pmos_7, nBuLay, [(-1.66,-0.66,-0.66,1.66), (21.72,-0.66,22.72,1.66), (-1.66,1.66,22.72,2.66)])
P(pmos_7, nBuLay, [(-1.66,-1.66),(-1.66,1.66),(-0.66,1.66),(-0.66,-0.66),(21.72,-0.66),(21.72,1.66),(-1.66,1.66),(-1.66,2.66),(22.72,2.66),(22.72,-1.66)])
R(pmos_7, Substrate, [(20.76,0,21.06,0.3)])
R(pmos_7, HeatTrans, [(0.34,-0.18,10.34,1.18), (10.72,-0.18,20.72,1.18)])
pmos_7.add(gdstk.Label('pmos', (5.34,0.5), layer=63, texttype=0))
pmos_7.add(gdstk.Label('well', (10.53,-1.16), layer=63, texttype=0))
pmos_7.add(gdstk.Label('pmos', (5.34,0.5), layer=51, texttype=0))
pmos_7.add(gdstk.Label('pmos', (15.72,0.5), layer=51, texttype=0))

ring_cap_8mhz = lib.new_cell('ring_cap_8Mhz')
R(ring_cap_8mhz, GatPoly, [(-23.415,1.95,-3.035,2.515)])
R(ring_cap_8mhz, Metal1, [(-24.765,1.685,-23.525,5.105), (-2.925,1.685,-1.685,5.105), (-13.305,3.29,-13.145,5.025)])
ring_cap_8mhz.add(gdstk.Reference(via_stack_11, (-13.27,2.215)))
ring_cap_8mhz.add(gdstk.Reference(pmos_7, (-23.755,2.695)))

via_stack_8 = lib.new_cell('via_stack$8')
R(via_stack_8, Metal1, [(-0.965,-0.105,0.965,0.105)])
R(via_stack_8, Metal2, [(-0.965,-0.1,0.965,0.1)])
A(via_stack_8, Via1, -0.915, -0.095, 0.19, 0.19, 5, 1, 0.41, 0)

clk_8mhz = lib.new_cell('clk_8MHz')
R(clk_8mhz, Metal1, [(-2.015,-4.7,8.005,-4.4), (6.14,-1.645,6.3,-1.135), (13.2,-1.645,13.36,-1.135), (13.71,0.03,16.19,0.465), (7.4,0.05,8.835,0.225), (-2.075,0.215,6.005,0.395), (-2.075,0.395,-1.785,0.775), (9.32,0.395,9.53,0.42), (6.65,0.42,9.53,0.58), (6.14,2.02,6.3,2.755), (13.2,2.02,13.36,2.745), (-2.325,5.53,0.05,6.295)])
R(clk_8mhz, Metal1_pin, [(4,-4.7,5.81,-4.4), (15.675,0.03,16.19,0.465), (-1.605,5.53,-0.485,6.295)])
R(clk_8mhz, Metal2, [(8.575,-8.23,10.37,-4.42), (-6.235,-7.54,-4.66,-5.83), (-13.74,-5.83,-0.53,-5.58), (-13.74,-5.58,-13.49,1.01), (-0.78,-5.58,-0.53,-0.185), (-0.78,-0.385,7.64,-0.185), (8.595,-0.385,10.34,-0.185), (7.35,-0.185,7.64,0.035), (8.595,-0.185,8.885,0.035), (9.695,0.115,13.055,0.365), (-13.49,0.79,-12.77,1.01), (0.87,5.35,1.245,6.27), (-13.88,6.02,1.245,6.27)])
R(clk_8mhz, Metal2_pin, [(-13.88,6.02,-13.47,6.27)])
clk_8mhz.add(gdstk.Reference(ring_mrr_inv, (9.875,0.565)))
clk_8mhz.add(gdstk.Reference(ring_schmitt, (-8.39,-0.93)))
clk_8mhz.add(gdstk.Reference(via_stack_4, (10.265,-0.28), rotation=3*pi/2))
clk_8mhz.add(gdstk.Reference(via_stack_4, (7.495,0.135), rotation=pi))
clk_8mhz.add(gdstk.Reference(via_stack_4, (8.74,0.135), rotation=pi))
clk_8mhz.add(gdstk.Reference(via_stack_4, (9.795,0.235), rotation=3*pi/2))
clk_8mhz.add(gdstk.Reference(via_stack_4, (12.98,0.235), rotation=3*pi/2))
clk_8mhz.add(gdstk.Reference(ring_cap_8mhz, (14.62,-5.905), x_reflection=True))
clk_8mhz.add(gdstk.Reference(via_stack_8, (9.465,-4.52)))
clk_8mhz.add(gdstk.Reference(via_stack_8, (-5.565,-7.44)))
clk_8mhz.add(gdstk.Label('clk_n', (11.785,0.27), layer=10, texttype=0))
clk_8mhz.add(gdstk.Label('VDD', (-1.095,6.295), layer=8, texttype=2))
clk_8mhz.add(gdstk.Label('VSS', (4.83,-4.7), layer=8, texttype=2))
clk_8mhz.add(gdstk.Label('clk', (16.19,0.28), layer=8, texttype=2))
clk_8mhz.add(gdstk.Label('I1U', (-13.88,6.145), layer=10, texttype=2))

lib.write_gds('clk_8MHz.gds')
